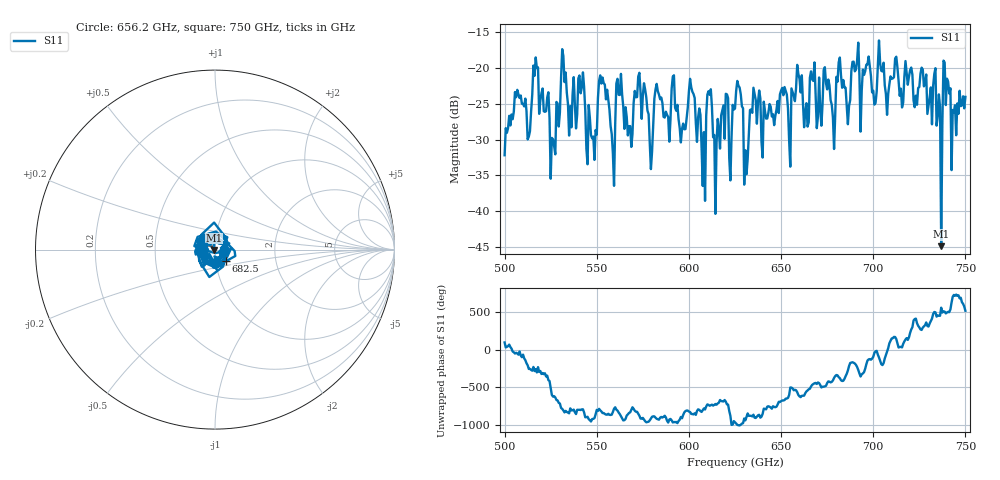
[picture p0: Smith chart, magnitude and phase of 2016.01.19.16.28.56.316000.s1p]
!Created with skrf (http://scikit-rf.org).
# GHz S RI R 50.0
!freq ReS11 ImS11
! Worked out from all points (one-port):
!   401 points, 500 GHz to 750 GHz, reference 50 ohm
!   lowest |S11| = -44.9 dB at 736.9 GHz (marker M1), VSWR 1.01, Z = 49.5 - j0.207 ohm
!   |S11| at or under -10 dB: start of sweep to end of sweep
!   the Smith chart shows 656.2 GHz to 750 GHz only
!   S11 on the Smith chart (normalised r, x): 656.2 GHz: 0.88, -0.05; 682.5 GHz: 1.12, -0.14; 750 GHz: 0.89, +0.04
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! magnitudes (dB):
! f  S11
! 500 GHz  -32.2
! 513.1 GHz  -29.6
! 516.9 GHz  -18.5
! 526.2 GHz  -29.9
! 531.2 GHz  -17.4
! 548.1 GHz  -29.6
! 553.1 GHz  -21.3
! 558.8 GHz  -32.0
! 562.5 GHz  -23.8
! 568.1 GHz  -28.1
! 571.9 GHz  -24.1
! 579.4 GHz  -34.1
! 582.5 GHz  -22.2
! 593.8 GHz  -25.1
! 601.9 GHz  -23.3
! 608.1 GHz  -29.0
! 610.6 GHz  -23.2
! 615.6 GHz  -27.1
! 625 GHz  -25.7
! 631.2 GHz  -34.8
! 635 GHz  -22.7
! 656.2 GHz  -23.4
! 682.5 GHz  -21.0
! 687.5 GHz  -24.5
! 718.8 GHz  -22.3
! 736.9 GHz  -44.9
! 739.4 GHz  -25.2
! 750 GHz  -24.0
